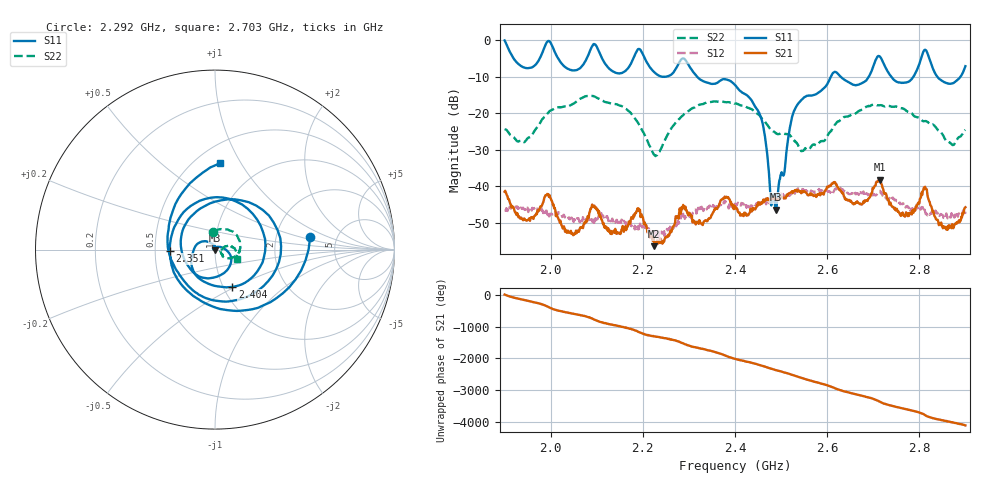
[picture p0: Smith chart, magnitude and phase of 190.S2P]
! C:\Users\rflab\Downloads\Lab5_KD_ZW\190.S2P
! Touchstone 1.1 file saved by VNA.EXE V1.65 (www.ke5fx.com/gpib/readme.htm)
! 11/12/2024 12:18:46 AM
!  Source: HEWLETT PACKARD,8753D,0,6.14
!  Min freq: 1.900000E+009 Hz
!  Max freq: 2.900000E+009 Hz
!  Points: 801
!  Params: S11 S21 S12 S22
# GHZ S RI R 50
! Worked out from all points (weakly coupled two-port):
!   801 points, 1.9 GHz to 2.9 GHz, reference 50 ohm
!   highest |S21| = -38.12 dB at 2.714 GHz (marker M1); lowest = -56.4 dB at 2.225 GHz (marker M2)
!   lowest |S11| = -46.3 dB at 2.489 GHz (marker M3), VSWR 1.01, Z = 49.7 - j0.407 ohm
!   |S11| at or under -10 dB: 2.318 GHz to 2.608 GHz (290.1 MHz wide, 11.8 % of centre); 2.629 GHz to 2.69 GHz (60.89 MHz wide, 2.29 % of centre); 2.839 GHz to 2.889 GHz (50.11 MHz wide, 1.75 % of centre) (the widest 3 of 6)
!   |S22| runs from -31.7 to -15.2 dB; largest |S21 - S12| = 0.0056
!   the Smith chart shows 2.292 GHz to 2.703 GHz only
!   S11 on the Smith chart (normalised r, x): 2.292 GHz: 3.17, +0.62; 2.351 GHz: 0.60, -0.01; 2.404 GHz: 1.10, -0.48; 2.703 GHz: 0.65, +0.82
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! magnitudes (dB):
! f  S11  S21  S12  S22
! 1.9 GHz  -0.1  -41.5  -46.6  -24.3
! 1.942 GHz  -7.5  -48.8  -46.3  -27.9
! 1.992 GHz  -0.4  -42.1  -47.7  -20.2
! 2.067 GHz  -7.2  -51.3  -49.4  -15.8
! 2.189 GHz  -2.5  -46.0  -51.5  -22.4
! 2.225 GHz  -8.8  -56.4  -53.4  -31.4
! 2.234 GHz  -9.6  -55.6  -52.3  -30.9
! 2.292 GHz  -5.4  -45.6  -48.2  -20.0
! 2.351 GHz  -12.0  -47.4  -45.5  -16.8
! 2.4 GHz  -12.2  -45.8  -44.7  -17.3
! 2.404 GHz  -12.8  -46.2  -45.2  -17.3
! 2.455 GHz  -20.7  -45.0  -44.9  -20.9
! 2.489 GHz  -46.3  -43.6  -43.5  -25.5
! 2.527 GHz  -19.5  -41.3  -41.7  -27.4
! 2.567 GHz  -15.1  -42.1  -41.4  -28.7
! 2.703 GHz  -6.3  -40.0  -42.3  -17.6
! 2.714 GHz  -4.4  -38.1  -41.3  -17.8
! 2.734 GHz  -9.1  -44.0  -43.6  -18.0
! 2.777 GHz  -11.3  -48.1  -46.0  -19.7
! 2.812 GHz  -2.6  -40.1  -46.9  -22.1
! 2.856 GHz  -11.6  -51.1  -48.6  -27.2
! 2.9 GHz  -7.1  -45.7  -46.9  -24.6
